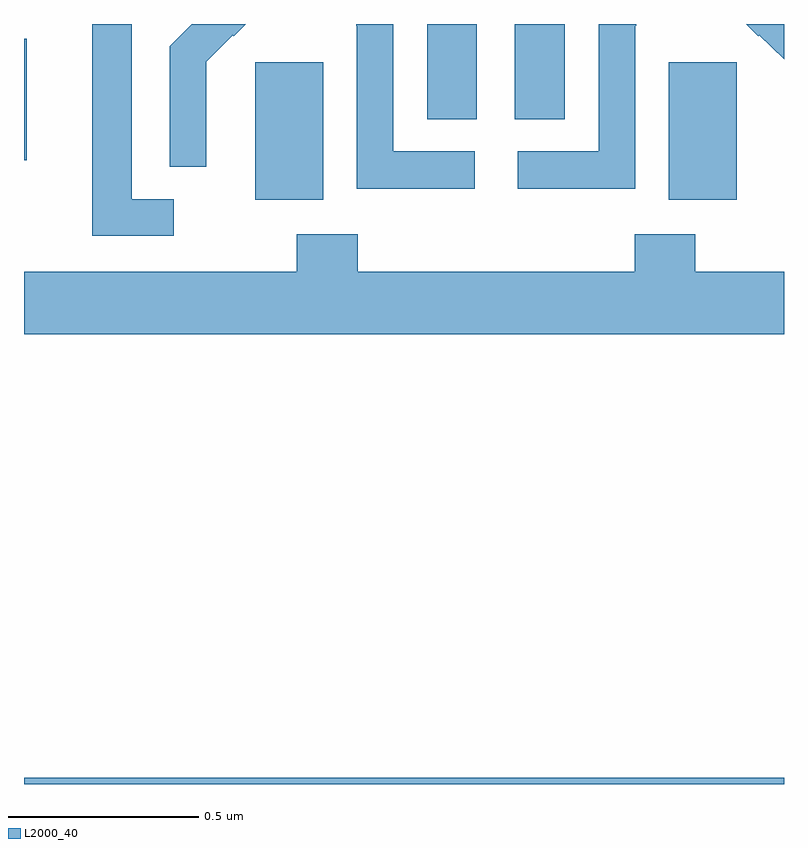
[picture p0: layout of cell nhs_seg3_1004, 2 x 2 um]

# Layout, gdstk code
import gdstk
lib = gdstk.Library(unit=1e-6, precision=1e-09)
def R(c, l, rs):  # rectangles x0, y0, x1, y1
    for r in rs: c.add(gdstk.rectangle(r[:2], r[2:], *l))
def P(c, l, *ps):  # polygons
    for p in ps: c.add(gdstk.Polygon(p, *l))
L2000_40 = (2000, 40)

nhs_seg3_1004 = lib.new_cell('nhs_seg3_1004')
R(nhs_seg3_1004, L2000_40, [(123,698.4,125,698.416), (123.608,699.938,123.787,700.299), (124.697,699.938,124.876,700.299), (123,700.041,123.007,700.361), (124.061,700.15,124.192,700.4), (124.292,700.15,124.423,700.4)])
P(nhs_seg3_1004, L2000_40, [(124.608,700.396),(124.611,700.396),(124.611,700.4),(124.512,700.4),(124.512,700.065),(124.299,700.065),(124.299,699.967),(124.608,699.967)],
  [(125,700.4),(124.9,700.4),(124.932,700.368),(124.935,700.371),(125,700.307)],
  [(123.48,700.178),(123.479,700.178),(123.479,700.301),(123.549,700.371),(123.552,700.368),(123.584,700.4),(123.442,700.4),(123.384,700.342),(123.384,700.024),(123.48,700.024)],
  [(124.186,700.065),(123.972,700.065),(123.972,700.4),(123.874,700.4),(123.874,700.396),(123.876,700.396),(123.876,699.967),(124.186,699.967)],
  [(123.394,699.939),(123.283,699.939),(123.283,700.4),(123.179,700.4),(123.179,699.843),(123.394,699.843)],
  [(125,699.748),(124.767,699.748),(124.767,699.847),(124.607,699.847),(124.607,699.748),(123.878,699.748),(123.878,699.847),(123.718,699.847),(123.718,699.748),(123,699.748),(123,699.584),(125,699.584)])

lib.write_gds('nhs_seg3_1004.gds')
